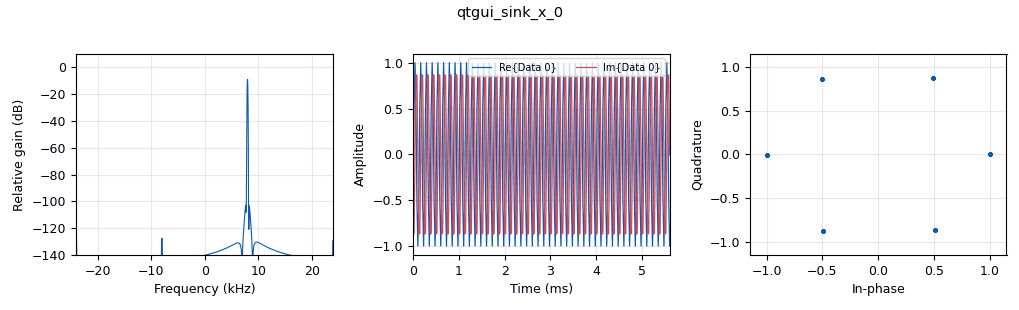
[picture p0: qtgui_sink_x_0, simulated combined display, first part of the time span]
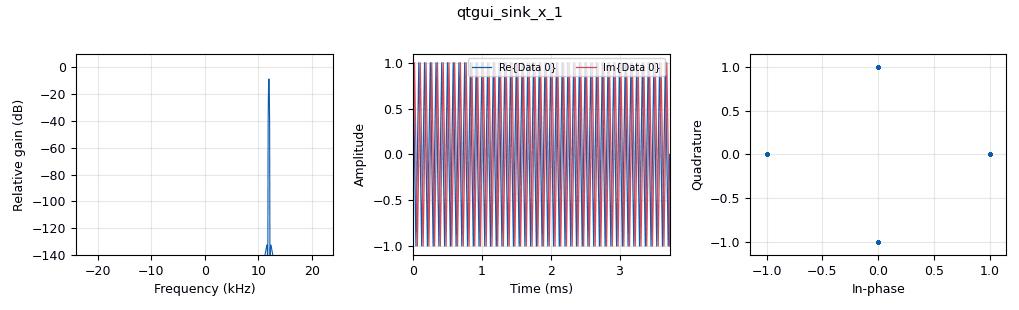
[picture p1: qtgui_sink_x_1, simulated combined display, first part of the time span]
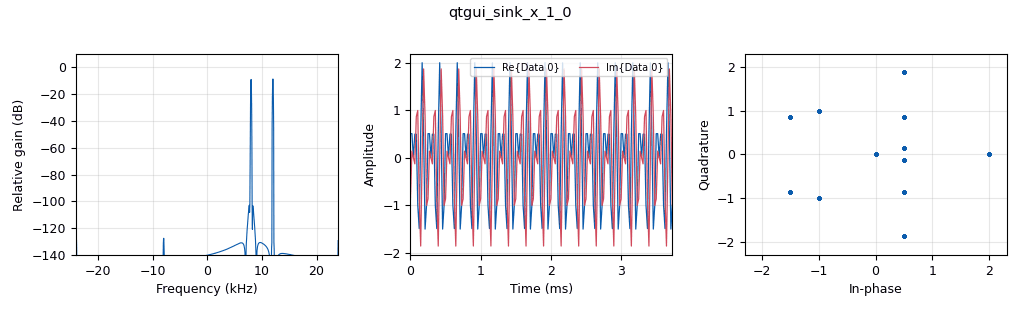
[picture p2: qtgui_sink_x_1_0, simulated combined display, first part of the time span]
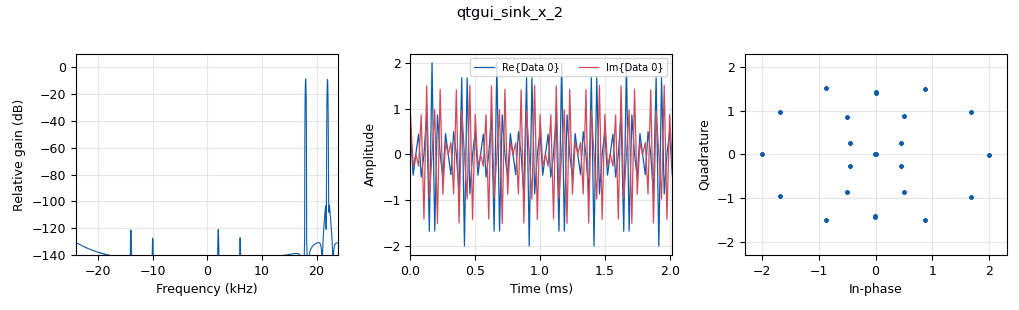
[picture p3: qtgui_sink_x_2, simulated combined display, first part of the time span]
options:
  parameters:
    author: vivelpanel
    generate_options: qt_gui
    id: iq_1
    output_language: python
    title: IQ Demo
  states: {}

blocks:
- name: filter_bank_type
  id: variable_qtgui_chooser
  parameters:
    labels: '[''Blackman-harris'', ''Hamming'', ''Hann'', ''Blackman'', ''Rectangular'', ''Kaiser'', ''Flat-top'']'
    num_opts: '0'
    options: '[''Blackman-harris'', ''Hamming'', ''Hann'', ''Blackman'', ''Rectangular'', ''Kaiser'', ''Flat-top'']'
    type: string
    value: Blackman-harris
  states: {}
- name: samp_rate
  id: variable
  parameters:
    value: '48000'
  states: {}
- name: analog_sig_source_x_0
  id: analog_sig_source_x
  parameters:
    amp: '1'
    freq: '8000'
    offset: '0'
    phase: '0'
    samp_rate: samp_rate
    type: complex
    waveform: analog.GR_COS_WAVE
  states: {}
- name: analog_sig_source_x_0_0
  id: analog_sig_source_x
  parameters:
    amp: '1'
    freq: '12000'
    offset: '0'
    phase: '0'
    samp_rate: samp_rate
    type: complex
    waveform: analog.GR_COS_WAVE
  states: {}
- name: analog_sig_source_x_0_0_0
  id: analog_sig_source_x
  parameters:
    amp: '1'
    freq: 10e3
    offset: '0'
    phase: '0'
    samp_rate: samp_rate
    type: float
    waveform: analog.GR_COS_WAVE
  states: {}
- name: analog_sig_source_x_0_0_0_0
  id: analog_sig_source_x
  parameters:
    amp: '1'
    freq: 10e3
    offset: '0'
    phase: '0'
    samp_rate: samp_rate
    type: float
    waveform: analog.GR_SIN_WAVE
  states: {}
- name: analog_sig_source_x_1
  id: analog_sig_source_x
  parameters:
    amp: '1'
    freq: '1000'
    offset: '0'
    phase: '0'
    samp_rate: samp_rate
    type: complex
    waveform: analog.GR_COS_WAVE
  states: {state: disabled}
- name: blocks_add_xx_0
  id: blocks_add_xx
  parameters:
    type: complex
  states: {}
- name: blocks_float_to_complex_0
  id: blocks_float_to_complex
  parameters: {}
  states: {}
- name: blocks_multiply_xx_0
  id: blocks_multiply_xx
  parameters:
    type: complex
  states: {}
- name: blocks_throttle_0
  id: blocks_throttle
  parameters:
    samples_per_second: samp_rate
    type: complex
  states: {}
- name: blocks_throttle_1
  id: blocks_throttle
  parameters:
    samples_per_second: samp_rate
    type: complex
  states: {state: disabled}
- name: qtgui_freq_sink_x_0
  id: qtgui_freq_sink_x
  parameters:
    bw: samp_rate
    fc: '0'
    fftsize: '1024'
    type: complex
  states: {state: disabled}
- name: qtgui_sink_x_0
  id: qtgui_sink_x
  parameters:
    bw: samp_rate
    fc: '0'
    fftsize: '1024'
    gui_hint: (0,0)
    type: complex
  states: {}
- name: qtgui_sink_x_1
  id: qtgui_sink_x
  parameters:
    bw: samp_rate
    fc: '0'
    fftsize: '1024'
    gui_hint: (0,1)
    type: complex
  states: {}
- name: qtgui_sink_x_1_0
  id: qtgui_sink_x
  parameters:
    bw: samp_rate
    fc: '0'
    fftsize: '1024'
    gui_hint: (1,0,1,2)
    type: complex
  states: {}
- name: qtgui_sink_x_2
  id: qtgui_sink_x
  parameters:
    bw: samp_rate
    fc: '0'
    fftsize: '1024'
    type: complex
  states: {}
- name: qtgui_sink_x_3
  id: qtgui_sink_x
  parameters:
    bw: samp_rate
    fc: '0'
    fftsize: '1024'
    type: complex
  states: {state: disabled}

connections:
- [analog_sig_source_x_0, '0', blocks_throttle_0, '0']
- [analog_sig_source_x_0_0, '0', blocks_add_xx_0, '1']
- [analog_sig_source_x_0_0, '0', qtgui_sink_x_1, '0']
- [analog_sig_source_x_0_0_0, '0', blocks_float_to_complex_0, '0']
- [analog_sig_source_x_0_0_0_0, '0', blocks_float_to_complex_0, '1']
- [analog_sig_source_x_1, '0', blocks_throttle_1, '0']
- [blocks_add_xx_0, '0', blocks_multiply_xx_0, '1']
- [blocks_add_xx_0, '0', qtgui_sink_x_1_0, '0']
- [blocks_float_to_complex_0, '0', blocks_multiply_xx_0, '0']
- [blocks_multiply_xx_0, '0', qtgui_sink_x_2, '0']
- [blocks_throttle_0, '0', blocks_add_xx_0, '0']
- [blocks_throttle_0, '0', qtgui_sink_x_0, '0']
- [blocks_throttle_1, '0', qtgui_freq_sink_x_0, '0']
- [blocks_throttle_1, '0', qtgui_sink_x_3, '0']

metadata:
  file_format: 1
